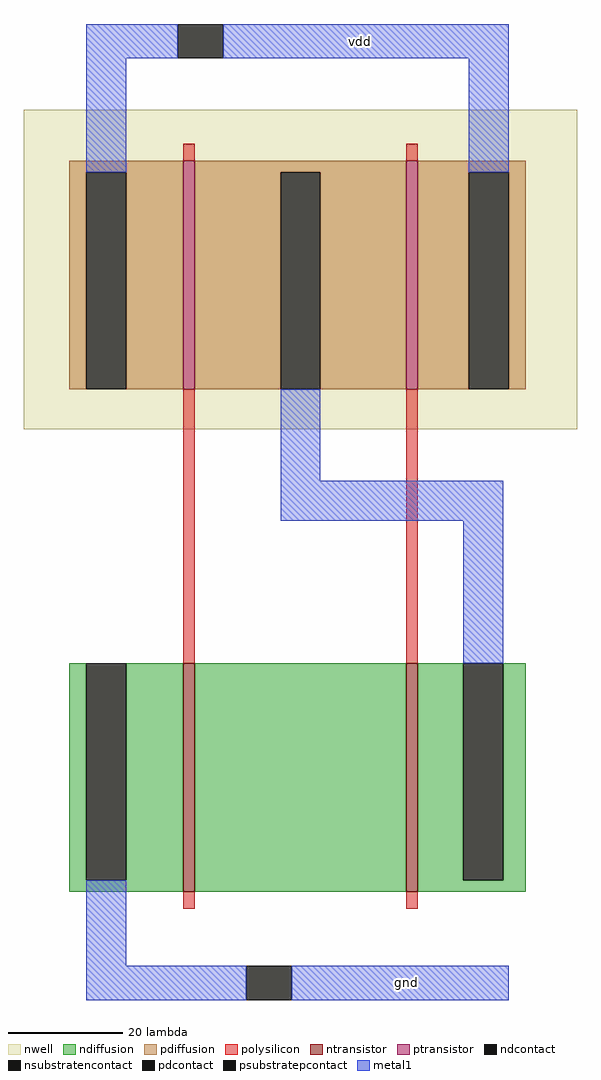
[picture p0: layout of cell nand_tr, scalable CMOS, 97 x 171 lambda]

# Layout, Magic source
magic
tech scmos
<< nwell >>
rect 0 0 97 56
<< ntransistor >>
rect 28 -81 30 -41
rect 67 -81 69 -41
<< ptransistor >>
rect 28 7 30 47
rect 67 7 69 47
<< ndiffusion >>
rect 8 -79 11 -41
rect 18 -79 28 -41
rect 8 -81 28 -79
rect 30 -81 67 -41
rect 69 -79 77 -41
rect 84 -79 88 -41
rect 69 -81 88 -79
<< pdiffusion >>
rect 8 45 28 47
rect 8 7 11 45
rect 18 7 28 45
rect 30 45 67 47
rect 30 7 45 45
rect 52 7 67 45
rect 69 45 88 47
rect 69 7 78 45
rect 85 7 88 45
<< ndcontact >>
rect 11 -79 18 -41
rect 77 -79 84 -41
<< pdcontact >>
rect 11 7 18 45
rect 45 7 52 45
rect 78 7 85 45
<< psubstratepcontact >>
rect 39 -100 47 -94
<< nsubstratencontact >>
rect 27 65 35 71
<< polysilicon >>
rect 28 47 30 50
rect 67 47 69 50
rect 28 -41 30 7
rect 67 -41 69 7
rect 28 -84 30 -81
rect 67 -84 69 -81
<< metal1 >>
rect 11 65 27 71
rect 35 65 85 71
rect 11 45 18 65
rect 78 45 85 65
rect 45 -9 52 7
rect 45 -16 84 -9
rect 77 -41 84 -16
rect 11 -94 18 -79
rect 11 -100 39 -94
rect 47 -100 85 -94
<< labels >>
rlabel metal1 67 -97 67 -97 1 gnd
rlabel metal1 59 68 59 68 5 vdd
<< end >>
